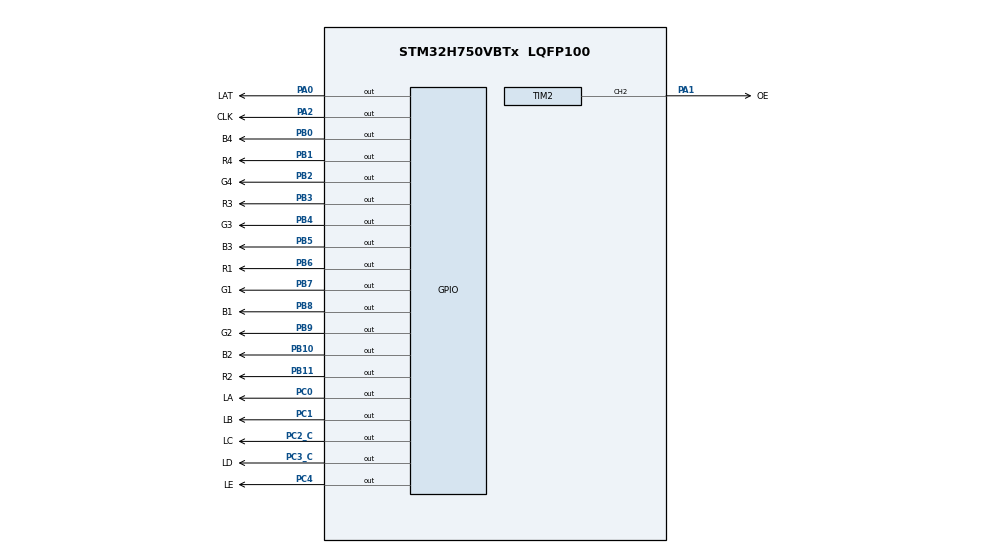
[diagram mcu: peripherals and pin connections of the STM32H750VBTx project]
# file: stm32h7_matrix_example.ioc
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CORTEX_M7.CPU_DCache=Enabled
CORTEX_M7.CPU_ICache=Enabled
Mcu.Family=STM32H7
Mcu.Name=STM32H750VBTx
Mcu.Package=LQFP100
NVIC.PriorityGroup=NVIC_PRIORITYGROUP_4
NVIC.TIM4_IRQn=true\:0\:0\:false\:false\:true\:true\:true
PA0.GPIO_Label=LAT
PA0.GPIO_ModeDefaultOutputPP=GPIO_MODE_OUTPUT_PP
PA0.GPIO_PuPd=GPIO_NOPULL
PA0.GPIO_Speed=GPIO_SPEED_FREQ_VERY_HIGH
PA0.PinState=GPIO_PIN_SET
PA0.Signal=GPIO_Output
PA1.GPIO_Label=OE
PA1.GPIO_Speed=GPIO_SPEED_FREQ_VERY_HIGH
PA1.Signal=S_TIM2_CH2
PA2.GPIO_Label=CLK
PA2.GPIO_ModeDefaultOutputPP=GPIO_MODE_OUTPUT_PP
PA2.GPIO_PuPd=GPIO_NOPULL
PA2.GPIO_Speed=GPIO_SPEED_FREQ_VERY_HIGH
PA2.PinState=GPIO_PIN_SET
PA2.Signal=GPIO_Output
PB0.GPIO_Label=B4
PB0.GPIO_ModeDefaultOutputPP=GPIO_MODE_OUTPUT_PP
PB0.GPIO_PuPd=GPIO_NOPULL
PB0.GPIO_Speed=GPIO_SPEED_FREQ_VERY_HIGH
PB0.PinState=GPIO_PIN_RESET
PB0.Signal=GPIO_Output
PB1.GPIO_Label=R4
PB1.GPIO_ModeDefaultOutputPP=GPIO_MODE_OUTPUT_PP
PB1.GPIO_PuPd=GPIO_NOPULL
PB1.GPIO_Speed=GPIO_SPEED_FREQ_VERY_HIGH
PB1.PinState=GPIO_PIN_RESET
PB1.Signal=GPIO_Output
PB10.GPIO_Label=B2
PB10.GPIO_ModeDefaultOutputPP=GPIO_MODE_OUTPUT_PP
PB10.GPIO_PuPd=GPIO_NOPULL
PB10.GPIO_Speed=GPIO_SPEED_FREQ_VERY_HIGH
PB10.PinState=GPIO_PIN_RESET
PB10.Signal=GPIO_Output
PB11.GPIO_Label=R2
PB11.GPIO_ModeDefaultOutputPP=GPIO_MODE_OUTPUT_PP
PB11.GPIO_PuPd=GPIO_NOPULL
PB11.GPIO_Speed=GPIO_SPEED_FREQ_VERY_HIGH
PB11.PinState=GPIO_PIN_RESET
PB11.Signal=GPIO_Output
PB2.GPIO_Label=G4
PB2.GPIO_ModeDefaultOutputPP=GPIO_MODE_OUTPUT_PP
PB2.GPIO_PuPd=GPIO_NOPULL
PB2.GPIO_Speed=GPIO_SPEED_FREQ_VERY_HIGH
PB2.PinState=GPIO_PIN_RESET
PB2.Signal=GPIO_Output
PB3\ (JTDO/TRACESWO).GPIO_Label=R3
PB3\ (JTDO/TRACESWO).GPIO_ModeDefaultOutputPP=GPIO_MODE_OUTPUT_PP
PB3\ (JTDO/TRACESWO).GPIO_PuPd=GPIO_NOPULL
PB3\ (JTDO/TRACESWO).GPIO_Speed=GPIO_SPEED_FREQ_VERY_HIGH
PB3\ (JTDO/TRACESWO).PinState=GPIO_PIN_RESET
PB3\ (JTDO/TRACESWO).Signal=GPIO_Output
PB4\ (NJTRST).GPIO_Label=G3
PB4\ (NJTRST).GPIO_ModeDefaultOutputPP=GPIO_MODE_OUTPUT_PP
PB4\ (NJTRST).GPIO_PuPd=GPIO_NOPULL
PB4\ (NJTRST).GPIO_Speed=GPIO_SPEED_FREQ_VERY_HIGH
PB4\ (NJTRST).PinState=GPIO_PIN_RESET
PB4\ (NJTRST).Signal=GPIO_Output
PB5.GPIO_Label=B3
PB5.GPIO_ModeDefaultOutputPP=GPIO_MODE_OUTPUT_PP
PB5.GPIO_PuPd=GPIO_NOPULL
PB5.GPIO_Speed=GPIO_SPEED_FREQ_VERY_HIGH
PB5.PinState=GPIO_PIN_RESET
PB5.Signal=GPIO_Output
PB6.GPIO_Label=R1
PB6.GPIO_ModeDefaultOutputPP=GPIO_MODE_OUTPUT_PP
PB6.GPIO_PuPd=GPIO_NOPULL
PB6.GPIO_Speed=GPIO_SPEED_FREQ_VERY_HIGH
PB6.PinState=GPIO_PIN_RESET
PB6.Signal=GPIO_Output
PB7.GPIO_Label=G1
PB7.GPIO_ModeDefaultOutputPP=GPIO_MODE_OUTPUT_PP
PB7.GPIO_PuPd=GPIO_NOPULL
PB7.GPIO_Speed=GPIO_SPEED_FREQ_VERY_HIGH
PB7.PinState=GPIO_PIN_RESET
PB7.Signal=GPIO_Output
PB8.GPIO_Label=B1
PB8.GPIO_ModeDefaultOutputPP=GPIO_MODE_OUTPUT_PP
PB8.GPIO_PuPd=GPIO_NOPULL
PB8.GPIO_Speed=GPIO_SPEED_FREQ_VERY_HIGH
PB8.PinState=GPIO_PIN_RESET
PB8.Signal=GPIO_Output
PB9.GPIO_Label=G2
PB9.GPIO_ModeDefaultOutputPP=GPIO_MODE_OUTPUT_PP
PB9.GPIO_PuPd=GPIO_NOPULL
PB9.GPIO_Speed=GPIO_SPEED_FREQ_VERY_HIGH
PB9.PinState=GPIO_PIN_RESET
PB9.Signal=GPIO_Output
PC0.GPIO_Label=LA
PC0.GPIO_ModeDefaultOutputPP=GPIO_MODE_OUTPUT_PP
PC0.GPIO_PuPd=GPIO_NOPULL
PC0.GPIO_Speed=GPIO_SPEED_FREQ_VERY_HIGH
PC0.PinState=GPIO_PIN_RESET
PC0.Signal=GPIO_Output
PC1.GPIO_Label=LB
PC1.GPIO_ModeDefaultOutputPP=GPIO_MODE_OUTPUT_PP
PC1.GPIO_PuPd=GPIO_NOPULL
PC1.GPIO_Speed=GPIO_SPEED_FREQ_VERY_HIGH
PC1.PinState=GPIO_PIN_RESET
PC1.Signal=GPIO_Output
PC2_C.GPIO_Label=LC
PC2_C.GPIO_ModeDefaultOutputPP=GPIO_MODE_OUTPUT_PP
PC2_C.GPIO_PuPd=GPIO_NOPULL
PC2_C.GPIO_Speed=GPIO_SPEED_FREQ_VERY_HIGH
PC2_C.PinState=GPIO_PIN_RESET
PC2_C.Signal=GPIO_Output
PC3_C.GPIO_Label=LD
PC3_C.GPIO_ModeDefaultOutputPP=GPIO_MODE_OUTPUT_PP
PC3_C.GPIO_PuPd=GPIO_NOPULL
PC3_C.GPIO_Speed=GPIO_SPEED_FREQ_VERY_HIGH
PC3_C.PinState=GPIO_PIN_RESET
PC3_C.Signal=GPIO_Output
PC4.GPIO_Label=LE
PC4.GPIO_ModeDefaultOutputPP=GPIO_MODE_OUTPUT_PP
PC4.GPIO_PuPd=GPIO_NOPULL
PC4.GPIO_Speed=GPIO_SPEED_FREQ_VERY_HIGH
PC4.PinState=GPIO_PIN_RESET
PC4.Signal=GPIO_Output
PH0-OSC_IN\ (PH0).Mode=HSE-External-Oscillator
PH0-OSC_IN\ (PH0).Signal=RCC_OSC_IN
PH1-OSC_OUT\ (PH1).Mode=HSE-External-Oscillator
PH1-OSC_OUT\ (PH1).Signal=RCC_OSC_OUT
ProjectManager.HeapSize=0x400
ProjectManager.StackSize=0x800
ProjectManager.TargetToolchain=Makefile
RCC.ADCFreq_Value=50390625
RCC.APB1Freq_Value=45000000
RCC.APB2Freq_Value=45000000
RCC.APB3Freq_Value=45000000
RCC.APB4Freq_Value=45000000
RCC.CortexFreq_Value=180000000
RCC.D1PPRE=RCC_APB3_DIV2
RCC.D2PPRE1=RCC_APB1_DIV2
RCC.D2PPRE2=RCC_APB2_DIV2
RCC.D3PPRE=RCC_APB4_DIV2
RCC.DIVM1=5
RCC.DIVN1=72
RCC.DIVQ1=20
RCC.EnbaleCSS=true
RCC.HCLKFreq_Value=90000000
RCC.HPRE=RCC_HCLK_DIV2
RCC.HSE_VALUE=25000000
RCC.PLLFRACN=0
RCC.PLLSourceVirtual=RCC_PLLSOURCE_HSE
RCC.RTCClockSelection=RCC_RTCCLKSOURCE_LSE
RCC.SYSCLKFreq_VALUE=180000000
RCC.SYSCLKSource=RCC_SYSCLKSOURCE_PLLCLK
RCC.USBFreq_Value=18000000
SH.S_TIM2_CH2.0=TIM2_CH2,PWM Generation2 CH2
TIM2.Channel-PWM\ Generation2\ CH2=TIM_CHANNEL_2
TIM2.OCPolarity_2=TIM_OCPOLARITY_LOW
TIM2.Period=100
TIM4.Period=60
VP_TIM2_VS_ClockSourceINT.Mode=Internal
VP_TIM4_VS_ClockSourceINT.Mode=Internal
board=custom

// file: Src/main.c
/* USER CODE BEGIN Header */
/**
  ******************************************************************************
  * @file           : main.c
  * @brief          : Main program body
  ******************************************************************************
  * @attention
  *
  * <h2><center>&copy; Copyright (c) 2020 STMicroelectronics.
  * All rights reserved.</center></h2>
  *
  * This software component is licensed by ST under Ultimate Liberty license
  * SLA0044, the "License"; You may not use this file except in compliance with
  * the License. You may obtain a copy of the License at:
  *                             www.st.com/SLA0044
  *
  ******************************************************************************
  */
/* USER CODE END Header */
#include "main.h"

/* USER CODE BEGIN Includes */
#include "matrix.h"
#include "string.h"
#include "stdio.h"

/* USER CODE END Includes */

void SystemClock_Config(void);
static void MX_GPIO_Init(void);
static void MX_TIM2_Init(void);
static void MX_TIM4_Init(void);

int main(void)
{

  /* Enable I-Cache---------------------------------------------------------*/
  SCB_EnableICache();

  /* Enable D-Cache---------------------------------------------------------*/
  SCB_EnableDCache();

  /* MCU Configuration--------------------------------------------------------*/

  /* Reset of all peripherals, Initializes the Flash interface and the Systick. */

  LL_APB4_GRP1_EnableClock(LL_APB4_GRP1_PERIPH_SYSCFG);

  NVIC_SetPriorityGrouping(NVIC_PRIORITYGROUP_4);

  /* System interrupt init*/

  /* Configure the system clock */
  SystemClock_Config();

  /* Initialize all configured peripherals */
  MX_GPIO_Init();
  MX_TIM2_Init();
  MX_TIM4_Init();
  /* USER CODE BEGIN 2 */
    MATRIX_Init( 90 );

    LL_TIM_CC_EnableChannel(TIM_OE, LL_TIM_CHANNEL_CH2);
    LL_TIM_OC_SetCompareCH2(TIM_OE, MATRIX_getBrightness() );
    LL_TIM_EnableCounter(TIM_OE);

    LL_TIM_EnableIT_UPDATE(TIM_DAT);
    LL_TIM_EnableCounter(TIM_DAT);
    MATRIX_SetTextSize(1);
    MATRIX_SetCursor(0, 5);
    MATRIX_SetTextColor(0xFFFF);

    // MATRIX_FillCircle( 128, 31, 30, 0x7E0 );
    // MATRIX_disImage(gImage_Anime, 256, 128);
    // LL_mDelay(5000);
    // MATRIX_disImage(gImage_Nature, 256, 128);
    // LL_mDelay(4000);
    MATRIX_FillScreen(0xF81F);
    LL_mDelay(2000);
    MATRIX_FillScreen(0x1234);
    LL_mDelay(2000);
    plasma();

  /* USER CODE END 2 */

  /* Infinite loop */
  /* USER CODE BEGIN WHILE */
    // MATRIX_FillScreen(0xF81F);
    // MATRIX_SetTextColor(0xDDDD);
    // MATRIX_SetCursor(15, 5);
    // MATRIX_Printf( FONT_DEFAULT, "---CardInfo---\n");
    // MATRIX_SetTextColor(0xDDD);
    // MATRIX_Printf( FONT_DEFAULT, "---CardInfo---\n");
    // MATRIX_Printf( FONT_DEFAULT, "---CardInfo---\n");
    // MATRIX_Printf( FONT_DEFAULT, "---CardInfo---\n");
    // MATRIX_Printf( FONT_DEFAULT, "---CardInfo---\n");
    // MATRIX_Printf( FONT_DEFAULT, "---CardInfo---\n");
    // MATRIX_Printf( FONT_DEFAULT, "---CardInfo---\n");
    // LL_mDelay(2000);

  while (1)
  {
    /* USER CODE END WHILE */

  }
}

void SystemClock_Config(void)
{
  LL_FLASH_SetLatency(LL_FLASH_LATENCY_1);
  while(LL_FLASH_GetLatency()!= LL_FLASH_LATENCY_1)
  {
  }
  LL_PWR_ConfigSupply(LL_PWR_LDO_SUPPLY);
  LL_PWR_SetRegulVoltageScaling(LL_PWR_REGU_VOLTAGE_SCALE3);
  LL_RCC_HSE_Enable();

   /* Wait till HSE is ready */
  while(LL_RCC_HSE_IsReady() != 1)
  {

  }
  LL_RCC_HSE_EnableCSS();
  LL_RCC_PLL_SetSource(LL_RCC_PLLSOURCE_HSE);
  LL_RCC_PLL1P_Enable();
  LL_RCC_PLL1_SetVCOInputRange(LL_RCC_PLLINPUTRANGE_4_8);
  LL_RCC_PLL1_SetVCOOutputRange(LL_RCC_PLLVCORANGE_WIDE);
  LL_RCC_PLL1_SetM(5);
  LL_RCC_PLL1_SetN(72);
  LL_RCC_PLL1_SetP(2);
  LL_RCC_PLL1_SetQ(20);
  LL_RCC_PLL1_SetR(2);
  LL_RCC_PLL1_Enable();

   /* Wait till PLL is ready */
  while(LL_RCC_PLL1_IsReady() != 1)
  {
  }

   /* Intermediate AHB prescaler 2 when target frequency clock is higher than 80 MHz */
   LL_RCC_SetAHBPrescaler(LL_RCC_AHB_DIV_2);

  LL_RCC_SetSysClkSource(LL_RCC_SYS_CLKSOURCE_PLL1);
  LL_RCC_SetSysPrescaler(LL_RCC_SYSCLK_DIV_1);
  LL_RCC_SetAHBPrescaler(LL_RCC_AHB_DIV_2);
  LL_RCC_SetAPB1Prescaler(LL_RCC_APB1_DIV_2);
  LL_RCC_SetAPB2Prescaler(LL_RCC_APB2_DIV_2);
  LL_RCC_SetAPB3Prescaler(LL_RCC_APB3_DIV_2);
  LL_RCC_SetAPB4Prescaler(LL_RCC_APB4_DIV_2);

  LL_Init1msTick(180000000);

  LL_SetSystemCoreClock(180000000);
  LL_RCC_HSE_EnableCSS();
}

static void MX_TIM2_Init(void)
{

  LL_TIM_InitTypeDef TIM_InitStruct = {0};
  LL_TIM_OC_InitTypeDef TIM_OC_InitStruct = {0};

  LL_GPIO_InitTypeDef GPIO_InitStruct = {0};

  /* Peripheral clock enable */
  LL_APB1_GRP1_EnableClock(LL_APB1_GRP1_PERIPH_TIM2);

  TIM_InitStruct.Prescaler = 0;
  TIM_InitStruct.CounterMode = LL_TIM_COUNTERMODE_UP;
  TIM_InitStruct.Autoreload = 100;
  TIM_InitStruct.ClockDivision = LL_TIM_CLOCKDIVISION_DIV1;
  LL_TIM_Init(TIM2, &TIM_InitStruct);
  LL_TIM_DisableARRPreload(TIM2);
  LL_TIM_SetClockSource(TIM2, LL_TIM_CLOCKSOURCE_INTERNAL);
  LL_TIM_OC_EnablePreload(TIM2, LL_TIM_CHANNEL_CH2);
  TIM_OC_InitStruct.OCMode = LL_TIM_OCMODE_PWM1;
  TIM_OC_InitStruct.OCState = LL_TIM_OCSTATE_DISABLE;
  TIM_OC_InitStruct.OCNState = LL_TIM_OCSTATE_DISABLE;
  TIM_OC_InitStruct.CompareValue = 0;
  TIM_OC_InitStruct.OCPolarity = LL_TIM_OCPOLARITY_LOW;
  LL_TIM_OC_Init(TIM2, LL_TIM_CHANNEL_CH2, &TIM_OC_InitStruct);
  LL_TIM_OC_DisableFast(TIM2, LL_TIM_CHANNEL_CH2);
  LL_TIM_SetTriggerOutput(TIM2, LL_TIM_TRGO_RESET);
  LL_TIM_DisableMasterSlaveMode(TIM2);
  LL_AHB4_GRP1_EnableClock(LL_AHB4_GRP1_PERIPH_GPIOA);
  /**TIM2 GPIO Configuration
  PA1   ------> TIM2_CH2
  */
  GPIO_InitStruct.Pin = OE_Pin;
  GPIO_InitStruct.Mode = LL_GPIO_MODE_ALTERNATE;
  GPIO_InitStruct.Speed = LL_GPIO_SPEED_FREQ_VERY_HIGH;
  GPIO_InitStruct.OutputType = LL_GPIO_OUTPUT_PUSHPULL;
  GPIO_InitStruct.Pull = LL_GPIO_PULL_NO;
  GPIO_InitStruct.Alternate = LL_GPIO_AF_1;
  LL_GPIO_Init(OE_GPIO_Port, &GPIO_InitStruct);

}

static void MX_TIM4_Init(void)
{

  LL_TIM_InitTypeDef TIM_InitStruct = {0};

  /* Peripheral clock enable */
  LL_APB1_GRP1_EnableClock(LL_APB1_GRP1_PERIPH_TIM4);

  /* TIM4 interrupt Init */
  NVIC_SetPriority(TIM4_IRQn, NVIC_EncodePriority(NVIC_GetPriorityGrouping(),0, 0));
  NVIC_EnableIRQ(TIM4_IRQn);

  TIM_InitStruct.Prescaler = 0;
  TIM_InitStruct.CounterMode = LL_TIM_COUNTERMODE_UP;
  TIM_InitStruct.Autoreload = 60;
  TIM_InitStruct.ClockDivision = LL_TIM_CLOCKDIVISION_DIV1;
  LL_TIM_Init(TIM4, &TIM_InitStruct);
  LL_TIM_DisableARRPreload(TIM4);
  LL_TIM_SetClockSource(TIM4, LL_TIM_CLOCKSOURCE_INTERNAL);
  LL_TIM_SetTriggerOutput(TIM4, LL_TIM_TRGO_RESET);
  LL_TIM_DisableMasterSlaveMode(TIM4);

}

static void MX_GPIO_Init(void)
{
  LL_GPIO_InitTypeDef GPIO_InitStruct = {0};

  /* GPIO Ports Clock Enable */
  LL_AHB4_GRP1_EnableClock(LL_AHB4_GRP1_PERIPH_GPIOH);
  LL_AHB4_GRP1_EnableClock(LL_AHB4_GRP1_PERIPH_GPIOC);
  LL_AHB4_GRP1_EnableClock(LL_AHB4_GRP1_PERIPH_GPIOA);
  LL_AHB4_GRP1_EnableClock(LL_AHB4_GRP1_PERIPH_GPIOB);

  /**/
  LL_GPIO_ResetOutputPin(GPIOC, LA_Pin|LB_Pin|LC_Pin|LD_Pin
                          |LE_Pin);

  /**/
  LL_GPIO_ResetOutputPin(GPIOB, B4_Pin|R4_Pin|G4_Pin|B2_Pin
                          |R2_Pin|R3_Pin|G3_Pin|B3_Pin
                          |R1_Pin|G1_Pin|B1_Pin|G2_Pin);

  /**/
  LL_GPIO_SetOutputPin(GPIOA, LAT_Pin|CLK_Pin);

  /**/
  GPIO_InitStruct.Pin = LA_Pin|LB_Pin|LC_Pin|LD_Pin
                          |LE_Pin;
  GPIO_InitStruct.Mode = LL_GPIO_MODE_OUTPUT;
  GPIO_InitStruct.Speed = LL_GPIO_SPEED_FREQ_VERY_HIGH;
  GPIO_InitStruct.OutputType = LL_GPIO_OUTPUT_PUSHPULL;
  GPIO_InitStruct.Pull = LL_GPIO_PULL_NO;
  LL_GPIO_Init(GPIOC, &GPIO_InitStruct);

  /**/
  GPIO_InitStruct.Pin = LAT_Pin|CLK_Pin;
  GPIO_InitStruct.Mode = LL_GPIO_MODE_OUTPUT;
  GPIO_InitStruct.Speed = LL_GPIO_SPEED_FREQ_VERY_HIGH;
  GPIO_InitStruct.OutputType = LL_GPIO_OUTPUT_PUSHPULL;
  GPIO_InitStruct.Pull = LL_GPIO_PULL_NO;
  LL_GPIO_Init(GPIOA, &GPIO_InitStruct);

  /**/
  GPIO_InitStruct.Pin = B4_Pin|R4_Pin|G4_Pin|B2_Pin
                          |R2_Pin|R3_Pin|G3_Pin|B3_Pin
                          |R1_Pin|G1_Pin|B1_Pin|G2_Pin;
  GPIO_InitStruct.Mode = LL_GPIO_MODE_OUTPUT;
  GPIO_InitStruct.Speed = LL_GPIO_SPEED_FREQ_VERY_HIGH;
  GPIO_InitStruct.OutputType = LL_GPIO_OUTPUT_PUSHPULL;
  GPIO_InitStruct.Pull = LL_GPIO_PULL_NO;
  LL_GPIO_Init(GPIOB, &GPIO_InitStruct);

}

void Error_Handler(void)
{
}

/************************ (C) COPYRIGHT STMicroelectronics *****END OF FILE****/
